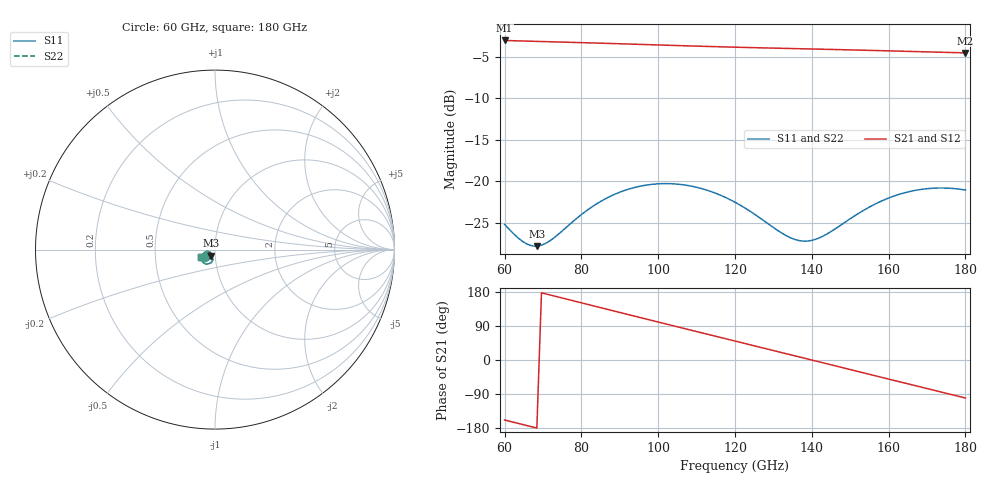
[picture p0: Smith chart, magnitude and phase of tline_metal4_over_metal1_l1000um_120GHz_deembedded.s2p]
! Created with skrf 2.2.0 (http://scikit-rf.org).
# GHz S DB R 50.0
! Port[1] = P1
! Port[2] = P2
!freq dBS11 angS11 dBS21 angS21 dBS12 angS12 dBS22 angS22
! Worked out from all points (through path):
!   101 points, 60 GHz to 180 GHz, reference 50 ohm
!   highest |S21| = -3.05 dB at 60 GHz (marker M1); lowest = -4.5 dB at 180 GHz (marker M2)
!   group delay of S21, straight-line fit = 6.99 ps
!   lowest |S11| = -27.8 dB at 68.4 GHz (marker M3), VSWR 1.08, Z = 47.7 - j3.26 ohm
!   |S11| at or under -10 dB: start of sweep to end of sweep
!   |S22| runs from -27.9 to -20.2 dB; largest |S21 - S12| = 7.9e-14
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60  -25.21 -145.7  -3.05 -158.4  -3.05 -158.4  -25.25 -145.7
64.8  -27.30 -135.8  -3.12 -170.5  -3.12 -170.5  -27.36 -135.6
68.4  -27.84 -122.8  -3.16 -179.6  -3.16 -179.6  -27.88 -122.3
72  -27.13 -111.0  -3.21 171.2  -3.21 171.2  -27.14 -110.4
80.4  -23.89 -103.6  -3.32 149.9  -3.32 149.9  -23.86 -103.0
86.4  -22.09 -108.9  -3.40 134.6  -3.40 134.6  -22.05 -108.4
91.2  -21.13 -115.7  -3.46 122.5  -3.46 122.5  -21.08 -115.2
96  -20.55 -123.5  -3.53 110.3  -3.53 110.3  -20.50 -123.0
100.8  -20.31 -131.7  -3.60 98.2  -3.60 98.2  -20.26 -131.2
105.6  -20.39 -139.8  -3.67 86.1  -3.67 86.1  -20.34 -139.3
110.4  -20.79 -147.4  -3.74 74.1  -3.74 74.1  -20.73 -146.9
120  -22.54 -159.2  -3.86 50.0  -3.86 50.0  -22.47 -158.7
126  -24.28 -161.8  -3.93 35.0  -3.93 35.0  -24.20 -161.2
130.8  -25.84 -158.6  -3.98 23.0  -3.98 23.0  -25.74 -158.1
135.6  -27.03 -149.3  -4.03 10.9  -4.03 10.9  -26.92 -148.9
140.4  -27.10 -136.4  -4.08 -1.1  -4.08 -1.1  -26.99 -136.2
145.2  -26.02 -126.7  -4.13 -13.2  -4.13 -13.2  -25.93 -126.5
150  -24.53 -122.9  -4.19 -25.2  -4.19 -25.2  -24.47 -122.8
160.8  -21.90 -128.7  -4.31 -52.3  -4.31 -52.3  -21.85 -128.5
170.4  -20.89 -140.4  -4.43 -76.3  -4.43 -76.3  -20.86 -140.2
175.2  -20.84 -146.8  -4.49 -88.3  -4.49 -88.3  -20.82 -146.6
180  -21.07 -152.8  -4.54 -100.2  -4.54 -100.2  -21.06 -152.6
